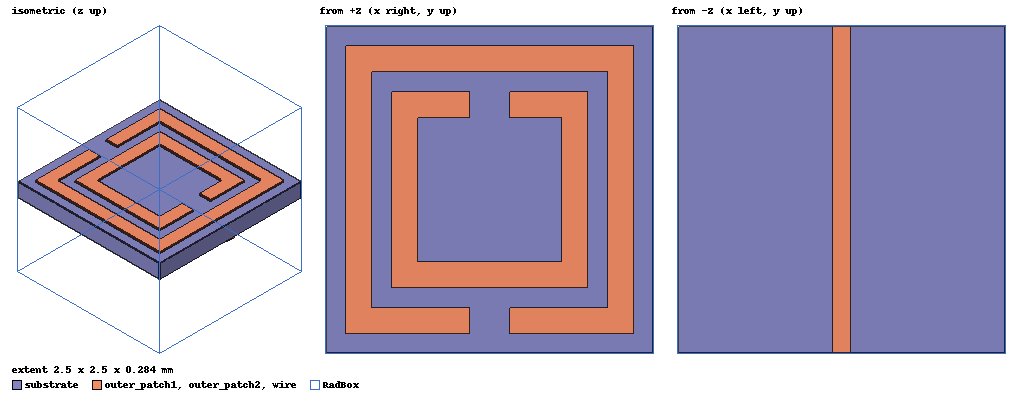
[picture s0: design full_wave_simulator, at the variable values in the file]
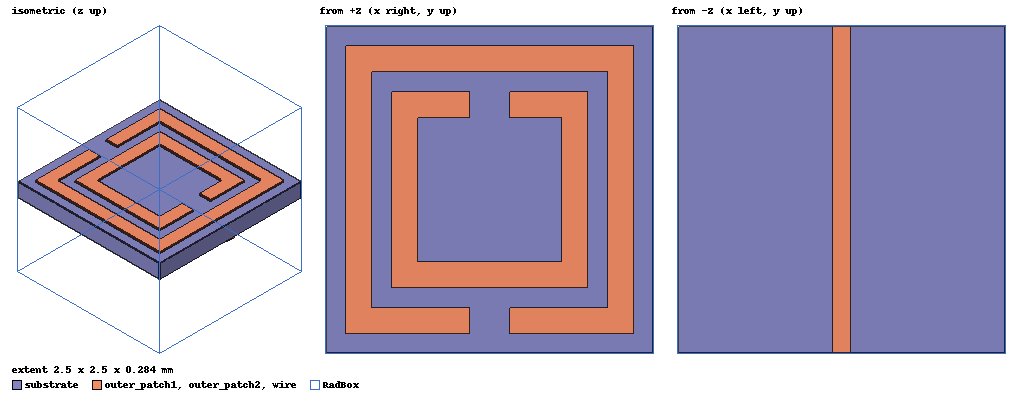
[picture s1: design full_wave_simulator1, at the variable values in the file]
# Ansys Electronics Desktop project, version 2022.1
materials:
  vacuum: permittivity=1
  copper: permeability=0.999991 conductivity=58000000
  FR4_epoxy: permittivity=4.4 dielectric_loss_tangent=0.02

design full_wave_simulator (HFSS, DrivenModal, model units mm)
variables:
  cell_width = 2.5mm
  patch_outerWidth1 = 2.2mm
  patch_outerWidth2 = 1.5mm
  patch_innerWidth1 = 1.8mm
  patch_innerWidth2 = 1.1mm
  patch_gapLength = 0.3mm
  patch_gapWidth = 0.2mm
  substrate_height = 0.25mm
  wire_length = 2.5mm
  wire_width = 0.14mm
  rad_length = 2.51mm
  rad_width = 2.51mm
  rad_height = 2.51mm
  lower_frequency = 5GHz
  upper_frequency = 15GHz
  solution_frequency = 10GHz
  patch_thickness = 0.017mm
  wavelength = 29.97925mm
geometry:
  substrate [FR4_epoxy] = box(corner=(-cell_width/2, -cell_width/2, -substrate_height/2), size=(cell_width, cell_width, substrate_height))
  outer_patch1 [copper] = rectangle(corner=(-patch_outerWidth1/2, -patch_outerWidth1/2, substrate_height/2), x_size=patch_outerWidth1, y_size=patch_outerWidth1)
  outer_patch1.thicken(patch_thickness)
  outer_patch2 [copper] = rectangle(corner=(-patch_outerWidth2/2, -patch_outerWidth2/2, substrate_height/2), x_size=patch_outerWidth2, y_size=patch_outerWidth2)
  outer_patch2.thicken(patch_thickness)
  patch_outerGap = rectangle(corner=(-patch_gapLength/2, -patch_outerWidth1/2, substrate_height/2), x_size=patch_gapLength, y_size=patch_gapWidth)
  patch_outerGap.thicken(patch_thickness)
  patch_innerGap = rectangle(corner=(-patch_gapLength/2, patch_innerWidth2/2, substrate_height/2), x_size=patch_gapLength, y_size=patch_gapWidth)
  patch_innerGap.thicken(patch_thickness)
  inner_patch1 = rectangle(corner=(-patch_innerWidth1/2, -patch_innerWidth1/2, substrate_height/2), x_size=patch_innerWidth1, y_size=patch_innerWidth1)
  inner_patch1.thicken(patch_thickness)
  inner_patch2 = rectangle(corner=(-patch_innerWidth2/2, -patch_innerWidth2/2, substrate_height/2), x_size=patch_innerWidth2, y_size=patch_innerWidth2)
  inner_patch2.thicken(patch_thickness)
  wire [copper] = rectangle(corner=(-wire_width/2, -wire_length/2, -substrate_height/2 -patch_thickness), x_size=wire_width, y_size=wire_length)
  wire.thicken(patch_thickness)
  RadBox [vacuum] = box(corner=(-rad_length/2, -rad_width/2, -rad_height/2), size=(rad_length, rad_width, rad_height))
  outer_patch1.subtract(inner_patch1, patch_outerGap)
  outer_patch2.subtract(inner_patch2, patch_innerGap)
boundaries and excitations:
  Primary1: Primary Faces=RadBox.face(-y) CoordSysVector{(1.255, -1.255, -1.255) -> (1.255, -1.255, 1.255)} ReverseV
  Secondary1: Secondary Faces=RadBox.face(+y) CoordSysVector{(1.255, 1.255, -1.255) -> (1.255, 1.255, 1.255)} primary=Primary1 PhaseDelay=UseScanAngle Phi=0deg Theta=0deg
  Primary2: Primary Faces=RadBox.face(+z) CoordSysVector{(1.255, -1.255, 1.255) -> (1.255, 1.255, 1.255)} ReverseV
  Secondary2: Secondary Faces=RadBox.face(-z) CoordSysVector{(1.255, -1.255, -1.255) -> (1.255, 1.255, -1.255)} primary=Primary2 PhaseDelay=UseScanAngle Phi=0deg Theta=0deg
  FloquetPort1: Floquet Port Faces=RadBox.face(+x) NumModes=2 Modes{Mode1{CharImp=Zpi} Mode2{CharImp=Zpi}} PhaseDelay=UseScanAngle Phi=0deg Theta=0deg LatticeAVector{(1.255, -1.255, -1.255) -> (1.255, -1.255, 1.255)} LatticeBVector{(1.255, -1.255, -1.255) -> (1.255, 1.255, -1.255)} ModesCalculator{Frequency=10GHz FrequencyChanged PhiStart=0deg PhiStop=0deg PhiStep=0deg ThetaStart=0deg ThetaStop=0deg ThetaStep=0deg} ModesList{Mode{ModeNumber=1 IndexM=0 IndexN=0 KC2=0 PropagationState=Propagating Attenuation=0 PolarizationState=TE AffectsRefinement} Mode{ModeNumber=2 IndexM=0 IndexN=0 KC2=0 PropagationState=Propagating Attenuation=0 PolarizationState=TM AffectsRefinement}}
  FloquetPort2: Floquet Port Faces=RadBox.face(-x) NumModes=2 Modes{Mode1{CharImp=Zpi} Mode2{CharImp=Zpi}} PhaseDelay=UseScanAngle Phi=0deg Theta=0deg LatticeAVector{(-1.255, -1.255, -1.255) -> (-1.255, -1.255, 1.255)} LatticeBVector{(-1.255, -1.255, -1.255) -> (-1.255, 1.255, -1.255)} ModesCalculator{Frequency=10GHz FrequencyChanged PhiStart=0deg PhiStop=0deg PhiStep=0deg ThetaStart=0deg ThetaStop=0deg ThetaStep=0deg} ModesList{Mode{ModeNumber=1 IndexM=0 IndexN=0 KC2=0 PropagationState=Propagating Attenuation=0 PolarizationState=TE AffectsRefinement} Mode{ModeNumber=2 IndexM=0 IndexN=0 KC2=0 PropagationState=Propagating Attenuation=0 PolarizationState=TM AffectsRefinement}}
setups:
  Setup1: HfssDrivenAuto AutoSolverSetting="Higher Accuracy" SaveAnyFields=false Type=Interpolating
    sweep Sweep: 1GHz to 20GHz, 501 points;
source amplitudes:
  FloquetPort1:1: 1W 0deg
  FloquetPort1:2, FloquetPort2:1, FloquetPort2:2: 0W 0deg

design full_wave_simulator1 (HFSS, DrivenModal, model units mm)
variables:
  cell_width = 2.5mm
  patch_outerWidth1 = 2.2mm
  patch_outerWidth2 = 1.5mm
  patch_innerWidth1 = 1.8mm
  patch_innerWidth2 = 1.1mm
  patch_gapLength = 0.3mm
  patch_gapWidth = 0.2mm
  substrate_height = 0.25mm
  wire_length = 2.5mm
  wire_width = 0.14mm
  rad_length = 2.51mm
  rad_width = 2.51mm
  rad_height = 2.51mm
  lower_frequency = 5GHz
  upper_frequency = 15GHz
  solution_frequency = 10GHz
  patch_thickness = 0.017mm
  wavelength = 29.97925mm
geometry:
  substrate [FR4_epoxy] = box(corner=(-cell_width/2, -cell_width/2, -substrate_height/2), size=(cell_width, cell_width, substrate_height))
  outer_patch1 [copper] = rectangle(corner=(-patch_outerWidth1/2, -patch_outerWidth1/2, substrate_height/2), x_size=patch_outerWidth1, y_size=patch_outerWidth1)
  outer_patch1.thicken(patch_thickness)
  outer_patch2 [copper] = rectangle(corner=(-patch_outerWidth2/2, -patch_outerWidth2/2, substrate_height/2), x_size=patch_outerWidth2, y_size=patch_outerWidth2)
  outer_patch2.thicken(patch_thickness)
  patch_outerGap = rectangle(corner=(-patch_gapLength/2, -patch_outerWidth1/2, substrate_height/2), x_size=patch_gapLength, y_size=patch_gapWidth)
  patch_outerGap.thicken(patch_thickness)
  patch_innerGap = rectangle(corner=(-patch_gapLength/2, patch_innerWidth2/2, substrate_height/2), x_size=patch_gapLength, y_size=patch_gapWidth)
  patch_innerGap.thicken(patch_thickness)
  inner_patch1 = rectangle(corner=(-patch_innerWidth1/2, -patch_innerWidth1/2, substrate_height/2), x_size=patch_innerWidth1, y_size=patch_innerWidth1)
  inner_patch1.thicken(patch_thickness)
  inner_patch2 = rectangle(corner=(-patch_innerWidth2/2, -patch_innerWidth2/2, substrate_height/2), x_size=patch_innerWidth2, y_size=patch_innerWidth2)
  inner_patch2.thicken(patch_thickness)
  wire [copper] = rectangle(corner=(-wire_width/2, -wire_length/2, -substrate_height/2 -patch_thickness), x_size=wire_width, y_size=wire_length)
  wire.thicken(patch_thickness)
  RadBox [vacuum] = box(corner=(-rad_length/2, -rad_width/2, -rad_height/2), size=(rad_length, rad_width, rad_height))
  outer_patch1.subtract(inner_patch1, patch_outerGap)
  outer_patch2.subtract(inner_patch2, patch_innerGap)
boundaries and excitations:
  Primary1: Primary Faces=RadBox.face(-y) CoordSysVector{(1.255, -1.255, -1.255) -> (1.255, -1.255, 1.255)} ReverseV
  Secondary1: Secondary Faces=RadBox.face(+y) CoordSysVector{(1.255, 1.255, -1.255) -> (1.255, 1.255, 1.255)} primary=Primary1 PhaseDelay=UseScanAngle Phi=0deg Theta=0deg
  Primary2: Primary Faces=RadBox.face(+z) CoordSysVector{(1.255, -1.255, 1.255) -> (1.255, 1.255, 1.255)} ReverseV
  Secondary2: Secondary Faces=RadBox.face(-z) CoordSysVector{(1.255, -1.255, -1.255) -> (1.255, 1.255, -1.255)} primary=Primary2 PhaseDelay=UseScanAngle Phi=0deg Theta=0deg
  FloquetPort1: Floquet Port Faces=RadBox.face(+x) NumModes=2 Modes{Mode1{CharImp=Zpi} Mode2{CharImp=Zpi}} PhaseDelay=UseScanAngle Phi=0deg Theta=0deg LatticeAVector{(1.255, -1.255, -1.255) -> (1.255, -1.255, 1.255)} LatticeBVector{(1.255, -1.255, -1.255) -> (1.255, 1.255, -1.255)} ModesCalculator{Frequency=10GHz FrequencyChanged PhiStart=0deg PhiStop=0deg PhiStep=0deg ThetaStart=0deg ThetaStop=0deg ThetaStep=0deg} ModesList{Mode{ModeNumber=1 IndexM=0 IndexN=0 KC2=0 PropagationState=Propagating Attenuation=0 PolarizationState=TE AffectsRefinement} Mode{ModeNumber=2 IndexM=0 IndexN=0 KC2=0 PropagationState=Propagating Attenuation=0 PolarizationState=TM AffectsRefinement}}
  FloquetPort2: Floquet Port Faces=RadBox.face(-x) NumModes=2 Modes{Mode1{CharImp=Zpi} Mode2{CharImp=Zpi}} PhaseDelay=UseScanAngle Phi=0deg Theta=0deg LatticeAVector{(-1.255, -1.255, -1.255) -> (-1.255, -1.255, 1.255)} LatticeBVector{(-1.255, -1.255, -1.255) -> (-1.255, 1.255, -1.255)} ModesCalculator{Frequency=10GHz FrequencyChanged PhiStart=0deg PhiStop=0deg PhiStep=0deg ThetaStart=0deg ThetaStop=0deg ThetaStep=0deg} ModesList{Mode{ModeNumber=1 IndexM=0 IndexN=0 KC2=0 PropagationState=Propagating Attenuation=0 PolarizationState=TE AffectsRefinement} Mode{ModeNumber=2 IndexM=0 IndexN=0 KC2=0 PropagationState=Propagating Attenuation=0 PolarizationState=TM AffectsRefinement}}
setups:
  Setup1: HfssDrivenAuto AutoSolverSetting="Higher Accuracy" SaveAnyFields=false Type=Interpolating
    sweep Sweep: 1GHz to 20GHz, 501 points;
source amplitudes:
  FloquetPort1:1: 1W 0deg
  FloquetPort1:2, FloquetPort2:1, FloquetPort2:2: 0W 0deg
